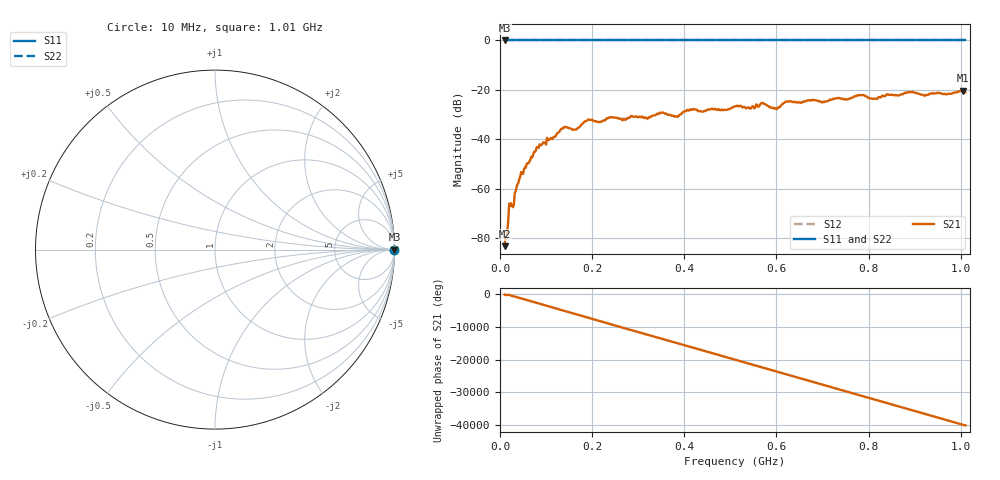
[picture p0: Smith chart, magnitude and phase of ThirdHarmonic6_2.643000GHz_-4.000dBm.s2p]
! 8/17/2025 5:58:55 AM
! C:\ANRITSUVNA\TEMP\TEMP.S2P
! CHANNEL.1
! TR.MEASUREMENT
! RAW.DATA
! RF.CORRECTION.OFF
! AVERAGING.OFF
! IF.BANDWIDTH: 5KHZ
! SWEEPTYPE:  FREQ.SWEEP(Linear)
! Reference Plane Port Info
! PORT:  PORT1  PORT2
! DISTANCE:  0  m  0  m
! TIME:  0  s  0  s
! PHASE.OFFSET:  0  deg.  0  deg.
! LOSS:  0  dB  0  dB
! REF.LOSS:  0  dB  0  dB
! REF.FREQ:  0  Hz  0  Hz
! Power Info
! POWER:  -20  dBm  -20  dBm
! EFF.POWER:  -20  dBm  -20  dBm
! SOURCE.ATTEN:  0  dB  0  dB
! TEST.ATTEN:  0  dB  0  dB
# GHZ S RI R 50.0
! FREQ.GHZ  S11RE  S11IM  S21RE  S21IM  S12RE  S12IM  S22RE  S22IM
!; PortSelection: Port_12
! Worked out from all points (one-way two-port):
!   501 points, 10 MHz to 1.01 GHz, reference 50 ohm
!   highest |S21| = -20.32 dB at 1.004 GHz (marker M1); lowest = -83.3 dB at 10 MHz (marker M2)
!   lowest |S11| = 0.0 dB at 10 MHz (marker M3)
!   |S11| at or under -10 dB: nowhere
!   |S22| runs from 0.0 to 0.0 dB; largest |S21 - S12| = 1.1
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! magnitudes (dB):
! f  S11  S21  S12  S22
! 10 MHz  0.0  -83.3  0.0  0.0
! 14 MHz  0.0  -80.1  0.0  0.0
! 22 MHz  0.0  -66.9  0.0  0.0
! 30 MHz  0.0  -66.8  0.0  0.0
! 42 MHz  0.0  -56.0  0.0  0.0
! 78 MHz  0.0  -44.5  0.0  0.0
! 136 MHz  0.0  -35.8  0.0  0.0
! 162 MHz  0.0  -36.1  0.0  0.0
! 178 MHz  0.0  -33.8  0.0  0.0
! 194 MHz  0.0  -32.2  0.0  0.0
! 318 MHz  0.0  -31.4  0.0  0.0
! 344 MHz  0.0  -29.9  0.0  0.0
! 384 MHz  0.0  -30.8  0.0  0.0
! 410 MHz  0.0  -28.5  0.0  0.0
! 510 MHz  0.0  -26.7  0.0  0.0
! 570 MHz  0.0  -25.3  0.0  0.0
! 598 MHz  0.0  -27.6  0.0  0.0
! 622 MHz  0.0  -24.8  0.0  0.0
! 678 MHz  0.0  -24.2  0.0  0.0
! 844 MHz  0.0  -22.0  0.0  0.0
! 1.004 GHz  0.0  -20.3  0.0  0.0
! 1.01 GHz  0.0  -21.0  0.0  0.0
